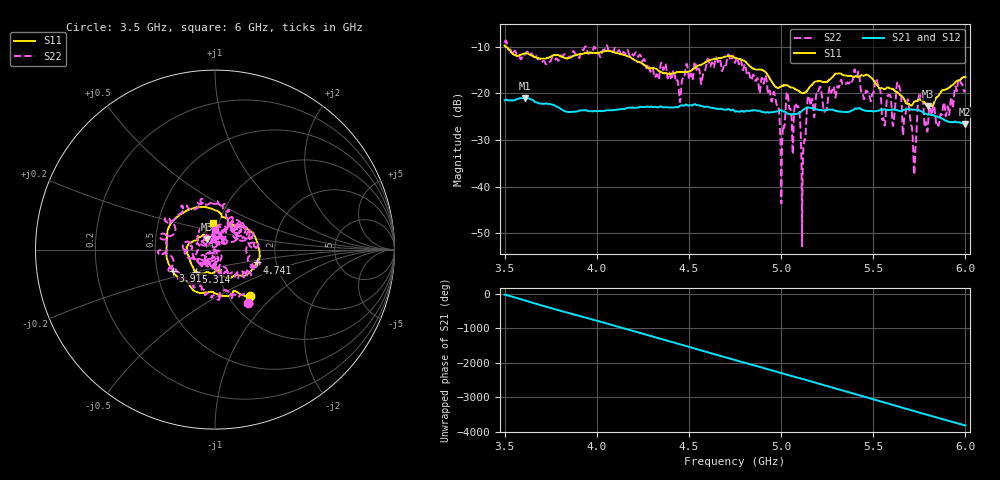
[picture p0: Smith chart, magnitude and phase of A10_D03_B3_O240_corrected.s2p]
! Created with skrf 1.9.0 (http://scikit-rf.org).
# Hz S RI R 50.0
!freq ReS11 ImS11 ReS21 ImS21 ReS12 ImS12 ReS22 ImS22
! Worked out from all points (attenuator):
!   1601 points, 3.5 GHz to 6 GHz, reference 50 ohm
!   highest |S21| = -20.98 dB at 3.611 GHz (marker M1); lowest = -26.5 dB at 5.998 GHz (marker M2)
!   lowest |S11| = -22.8 dB at 5.795 GHz (marker M3), VSWR 1.16, Z = 45.6 + j5.35 ohm
!   |S11| at or under -10 dB: 3.508 GHz to end of sweep
!   |S22| runs from -52.8 to -8.7 dB; largest |S21 - S12| = 0.00097
!   S11 on the Smith chart (normalised r, x): 3.5 GHz: 1.25, -0.73; 3.917 GHz: 0.60, -0.15; 4.741 GHz: 1.59, -0.24; 5.314 GHz: 0.78, -0.20; 6 GHz: 0.94, +0.29
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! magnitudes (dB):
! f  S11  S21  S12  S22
! 3.5 GHz  -9.7  -21.5  -21.5  -9.2
! 3.611 GHz  -11.4  -21.0  -21.0  -11.7
! 3.917 GHz  -11.6  -23.6  -23.6  -10.8
! 4.334 GHz  -15.1  -23.0  -22.9  -17.0
! 4.741 GHz  -12.2  -23.5  -23.5  -12.0
! 4.75 GHz  -12.3  -23.9  -23.8  -13.5
! 4.967 GHz  -18.5  -23.9  -23.9  -20.6
! 5.006 GHz  -18.4  -23.7  -23.7  -30.0
! 5.034 GHz  -18.3  -24.3  -24.2  -19.8
! 5.088 GHz  -19.3  -24.4  -24.3  -22.8
! 5.12 GHz  -20.0  -23.5  -23.5  -32.4
! 5.145 GHz  -19.2  -23.0  -23.0  -20.9
! 5.167 GHz  -18.2  -23.2  -23.1  -21.2
! 5.314 GHz  -15.7  -23.9  -23.9  -18.8
! 5.558 GHz  -19.1  -23.4  -23.4  -25.9
! 5.584 GHz  -18.8  -23.6  -23.5  -20.4
! 5.639 GHz  -20.0  -23.7  -23.7  -18.2
! 5.722 GHz  -21.8  -23.5  -23.4  -37.4
! 5.755 GHz  -21.3  -23.8  -23.7  -20.9
! 5.795 GHz  -22.8  -24.5  -24.5  -27.9
! 5.998 GHz  -16.5  -26.5  -26.5  -19.4
! 6 GHz  -16.5  -26.5  -26.5  -19.3
